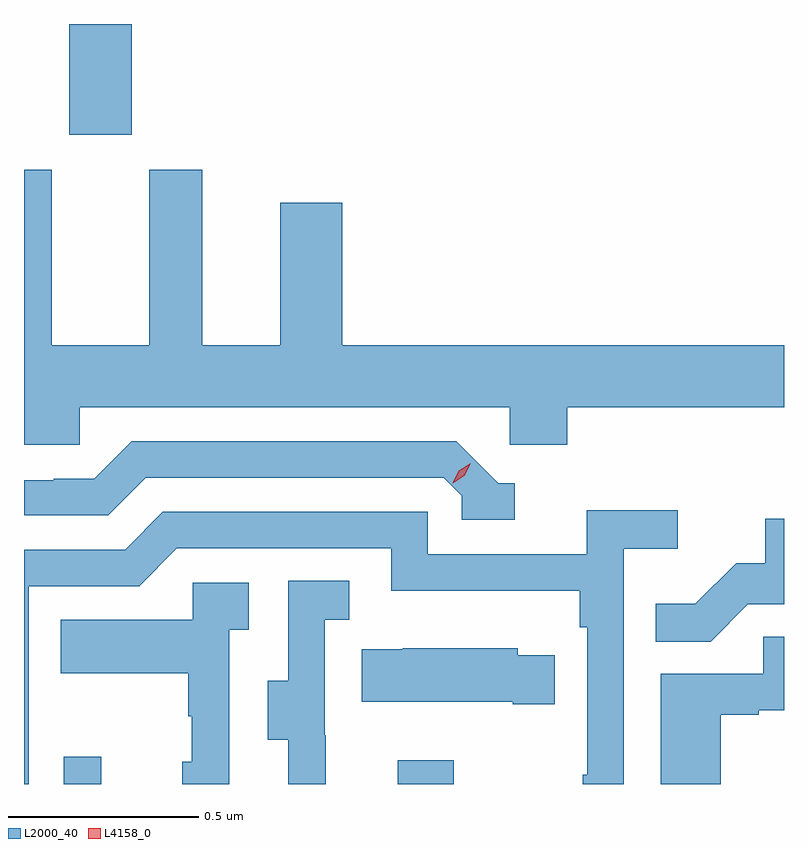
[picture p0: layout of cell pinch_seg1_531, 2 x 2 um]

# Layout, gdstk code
import gdstk
lib = gdstk.Library(unit=1e-6, precision=1e-09)
def R(c, l, rs):  # rectangles x0, y0, x1, y1
    for r in rs: c.add(gdstk.rectangle(r[:2], r[2:], *l))
def P(c, l, *ps):  # polygons
    for p in ps: c.add(gdstk.Polygon(p, *l))
L2000_40 = (2000, 40)
L4158_0 = (4158, 0)

pinch_seg1_531 = lib.new_cell('pinch_seg1_531')
R(pinch_seg1_531, L2000_40, [(1075.527,537.421,1075.625,537.493), (1076.405,537.421,1076.553,537.484), (1075.541,539.13,1075.705,539.421)])
P(pinch_seg1_531, L2000_40, [(1075.569,538.412),(1076.7,538.412),(1076.7,538.314),(1076.852,538.314),(1076.852,538.412),(1077.422,538.412),(1077.422,538.576),(1076.26,538.576),(1076.26,538.951),(1076.096,538.951),(1076.096,538.576),(1075.891,538.576),(1075.891,539.038),(1075.751,539.038),(1075.751,538.576),(1075.495,538.576),(1075.495,539.038),(1075.422,539.038),(1075.422,538.314),(1075.569,538.314)],
  [(1076.713,538.212),(1076.67,538.212),(1076.559,538.323),(1075.706,538.323),(1075.607,538.224),(1075.5,538.224),(1075.5,538.221),(1075.422,538.221),(1075.422,538.128),(1075.644,538.128),(1075.743,538.227),(1076.526,538.227),(1076.574,538.179),(1076.574,538.116),(1076.713,538.116)],
  [(1075.434,537.942),(1075.725,537.942),(1075.824,538.041),(1076.388,538.041),(1076.388,537.929),(1076.884,537.929),(1076.884,537.833),(1076.904,537.833),(1076.904,537.445),(1076.892,537.445),(1076.892,537.421),(1077,537.421),(1077,538.04),(1077.142,538.04),(1077.142,538.142),(1076.903,538.142),(1076.903,538.026),(1076.484,538.026),(1076.484,538.137),(1075.787,538.137),(1075.688,538.038),(1075.422,538.038),(1075.422,537.421),(1075.434,537.421)],
  [(1077.327,537.894),(1077.422,537.894),(1077.422,538.119),(1077.373,538.119),(1077.373,538.002),(1077.296,538.002),(1077.189,537.895),(1077.085,537.895),(1077.085,537.796),(1077.229,537.796)],
  [(1076.216,537.549),(1076.214,537.549),(1076.214,537.853),(1076.278,537.853),(1076.278,537.956),(1076.118,537.956),(1076.118,537.693),(1076.063,537.693),(1076.063,537.538),(1076.117,537.538),(1076.117,537.421),(1076.216,537.421)],
  [(1075.962,537.827),(1076.014,537.827),(1076.014,537.951),(1075.866,537.951),(1075.866,537.853),(1075.519,537.853),(1075.519,537.713),(1075.854,537.713),(1075.854,537.599),(1075.864,537.599),(1075.864,537.48),(1075.838,537.48),(1075.838,537.421),(1075.962,537.421)],
  [(1077.256,537.603),(1077.356,537.603),(1077.356,537.615),(1077.422,537.615),(1077.422,537.809),(1077.367,537.809),(1077.367,537.711),(1077.098,537.711),(1077.098,537.421),(1077.256,537.421)],
  [(1076.819,537.76),(1076.721,537.76),(1076.721,537.778),(1076.419,537.778),(1076.419,537.775),(1076.311,537.775),(1076.311,537.638),(1076.708,537.638),(1076.708,537.631),(1076.819,537.631)])
P(pinch_seg1_531, L4158_0, [(1076.55,538.213),(1076.55,538.213),(1076.566,538.246),(1076.597,538.265),(1076.598,538.265),(1076.598,538.265),(1076.581,538.232),(1076.55,538.213)])

lib.write_gds('pinch_seg1_531.gds')
